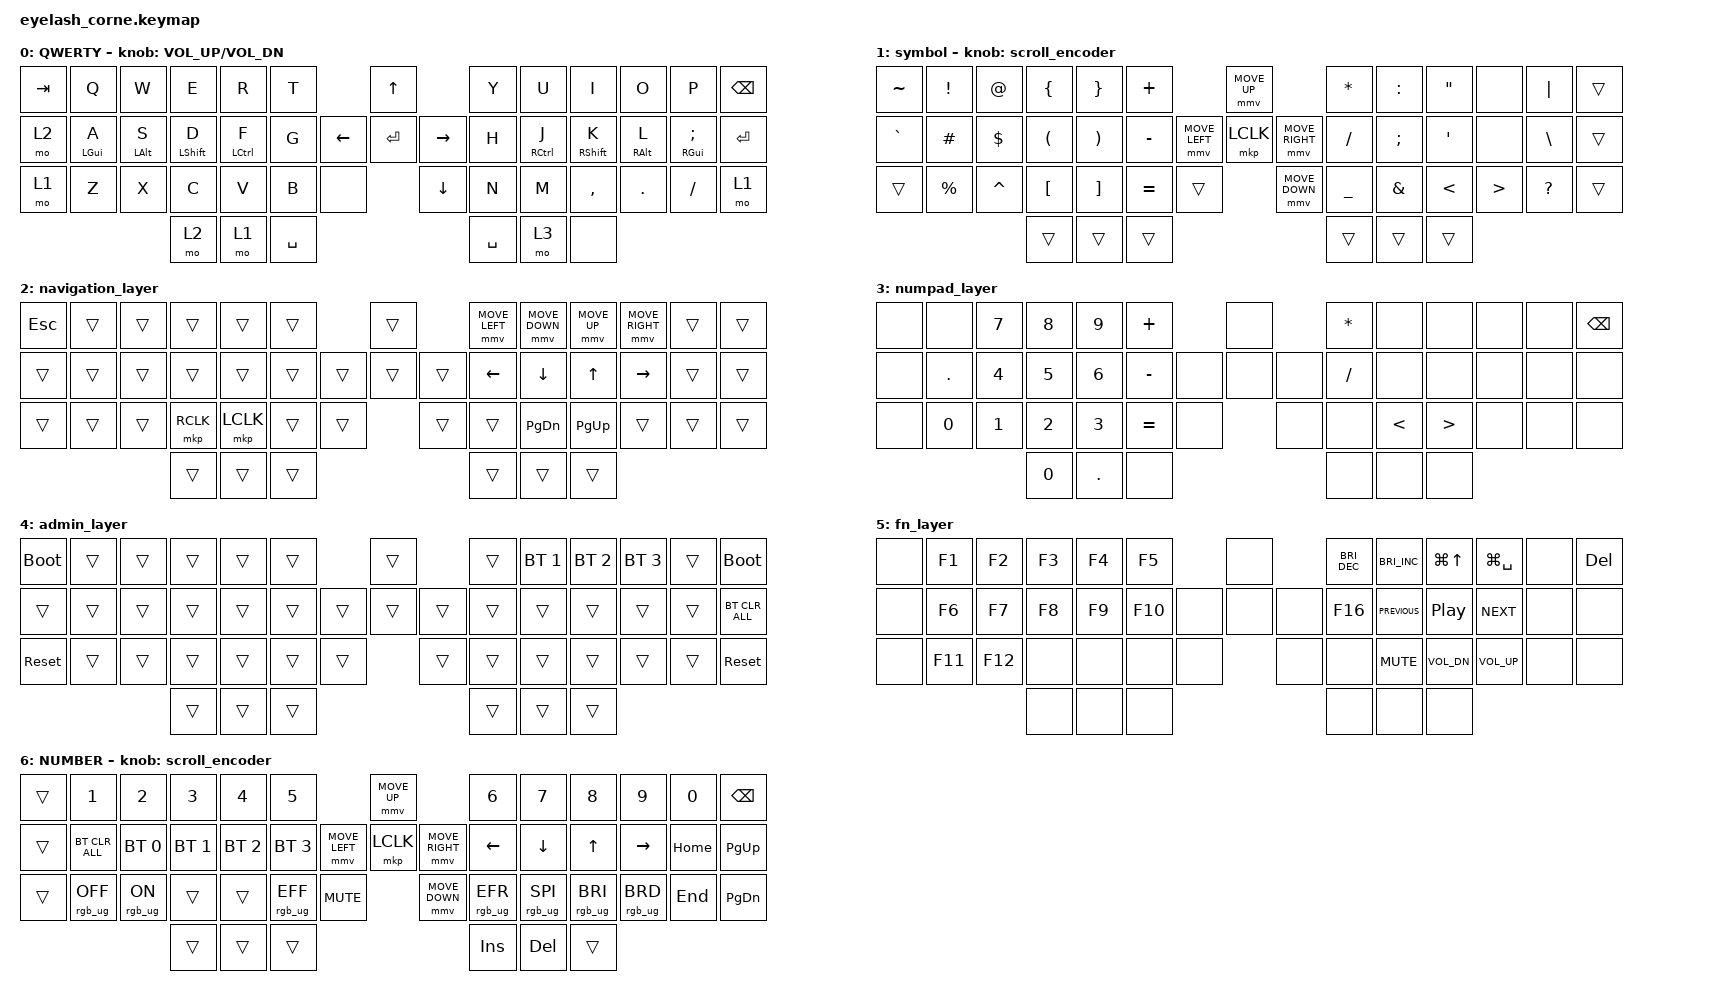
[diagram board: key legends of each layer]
#define ZMK_POINTING_DEFAULT_MOVE_VAL 1200  // 600
#define ZMK_POINTING_DEFAULT_SCRL_VAL 25   // 10

#include <input/processors.dtsi>
#include <zephyr/dt-bindings/input/input-event-codes.h>
#include <behaviors.dtsi>
#include <dt-bindings/zmk/bt.h>
#include <dt-bindings/zmk/keys.h>
#include <dt-bindings/zmk/pointing.h>
#include <dt-bindings/zmk/rgb.h>

&mmv_input_listener { input-processors = <&zip_xy_scaler 2 1>; };

&msc_input_listener { input-processors = <&zip_scroll_scaler 2 1>; };

&msc {
    acceleration-exponent = <1>;      // 0
    time-to-max-speed-ms = <100>;       // 300
    delay-ms = <0>;                   // 0
};

&mmv {
    time-to-max-speed-ms = <500>;
    acceleration-exponent = <1>;
    trigger-period-ms = <16>;
};

&soft_off { hold-time-ms = <2000>; };

/ {
    behaviors {
        hml: hml {
            compatible = "zmk,behavior-hold-tap";
            label = "HML";
            bindings = <&kp>, <&kp>;

            #binding-cells = <2>;
            tapping-term-ms = <280>;
            flavor = "balanced";
            quick-tap-ms = <175>;
            require-prior-idle-ms = <150>;
            hold-trigger-on-release;
            hold-trigger-key-positions = <42 43 44 45 46 47 23 23 24 25 26 7 8 9 10 11 22 23 24 25 26 36 37 38 39 40>;
        };

        hmr: hmr {
            compatible = "zmk,behavior-hold-tap";
            label = "HMR";
            bindings = <&kp>, <&kp>;

            #binding-cells = <2>;
            flavor = "balanced";
            tapping-term-ms = <280>;
            quick-tap-ms = <175>;
            require-prior-idle-ms = <150>;
            hold-trigger-on-release;
            hold-trigger-key-positions = <14 15 16 17 42 43 44 45 46 47 1 2 3 4 14 15 16 17 30 31 32 29 5 18 33>;
        };
    };

    rgb_encoder: rgb_encoder {
        compatible = "zmk,behavior-sensor-rotate";
        #sensor-binding-cells = <0>;
        bindings = <&rgb_ug RGB_BRI>, <&rgb_ug RGB_BRD>;
    };

    scroll_encoder: scroll_encoder {
        compatible = "zmk,behavior-sensor-rotate";
        #sensor-binding-cells = <0>;
        bindings = <&msc SCRL_DOWN>, <&msc SCRL_UP>;

        tap-ms = <100>;
    };

    combos {
        compatible = "zmk,combos";

        left_cut {
            bindings = <&kp LG(X)>;
            key-positions = <14 30>;
            layers = <0>;
        };

        left_copy {
            bindings = <&kp LG(C)>;
            key-positions = <14 31>;
            layers = <0>;
        };

        left_paste {
            bindings = <&kp LG(V)>;
            key-positions = <14 32>;
            layers = <0>;
        };

        admin_left {
            bindings = <&mo 4>;
            key-positions = <42 42 43 44>;
        };

        admin_right {
            bindings = <&mo 4>;
            key-positions = <45 46 47>;
        };

        fn_layer_left {
            bindings = <&mo 5>;
            key-positions = <33 43>;
        };

        fn_layer_right {
            bindings = <&mo 5>;
            key-positions = <36 46>;
        };
    };

    keymap {
        compatible = "zmk,keymap";

        default_layer {
            display-name = "QWERTY";
            bindings = <
&kp TAB  &kp Q            &kp W            &kp E              &kp R         &kp T                         &kp UP                &kp Y      &kp U         &kp I               &kp O             &kp P                &kp BACKSPACE
&mo 2    &hml LEFT_GUI A  &hml LEFT_ALT S  &hml LEFT_SHIFT D  &hml LCTRL F  &kp G               &kp LEFT  &kp ENTER  &kp RIGHT  &kp H      &hmr RCTRL J  &hmr RIGHT_SHIFT K  &hmr RIGHT_ALT L  &hmr RIGHT_GUI SEMI  &kp ENTER
&mo 1    &kp Z            &kp X            &kp C              &kp V         &kp B      &none              &kp DOWN              &kp N      &kp M         &kp COMMA           &kp DOT           &kp FSLH             &mo 1
                                           &mo 2              &mo 1         &kp SPACE                                           &kp SPACE  &mo 3         &none
            >;

            sensor-bindings = <&inc_dec_kp C_VOLUME_UP C_VOL_DN>;
        };

        symbol_layer {
            display-name = "symbol";
            bindings = <
&kp TILDE  &kp EXCL     &kp AT_SIGN  &kp LEFT_BRACE        &kp RIGHT_BRACE        &kp PLUS                             &mmv MOVE_UP                     &kp ASTERISK  &kp COLON      &kp DOUBLE_QUOTES  &none             &kp PIPE       &trans
&kp GRAVE  &kp HASH     &kp DOLLAR   &kp LEFT_PARENTHESIS  &kp RIGHT_PARENTHESIS  &kp MINUS            &mmv MOVE_LEFT  &mkp LCLK       &mmv MOVE_RIGHT  &kp SLASH     &kp SEMICOLON  &kp SQT            &none             &kp BACKSLASH  &trans
&trans     &kp PERCENT  &kp CARET    &kp LEFT_BRACKET      &kp RIGHT_BRACKET      &kp EQUAL  &trans                    &mmv MOVE_DOWN                   &kp UNDER     &kp AMPERSAND  &kp LESS_THAN      &kp GREATER_THAN  &kp QUESTION   &trans
                                     &trans                &trans                 &trans                                                                &trans        &trans         &trans
            >;

            sensor-bindings = <&scroll_encoder>;
        };

        navigation_layer {
            bindings = <
&kp ESCAPE  &trans  &trans  &trans     &trans     &trans                    &trans          &mmv MOVE_LEFT  &mmv MOVE_DOWN  &mmv MOVE_UP  &mmv MOVE_RIGHT  &trans  &trans
&trans      &trans  &trans  &trans     &trans     &trans            &trans  &trans  &trans  &kp LEFT        &kp DOWN        &kp UP        &kp RIGHT        &trans  &trans
&trans      &trans  &trans  &mkp RCLK  &mkp LCLK  &trans  &trans            &trans          &trans          &kp PAGE_DOWN   &kp PAGE_UP   &trans           &trans  &trans
                            &trans     &trans     &trans                                    &trans          &trans          &trans
            >;
        };

        numpad_layer {
            bindings = <
&none  &none         &kp N7  &kp N8  &kp N9   &kp PLUS                   &none         &kp STAR   &none          &none             &none  &none  &kp BACKSPACE
&none  &kp PERIOD    &kp N4  &kp N5  &kp N6   &kp MINUS           &none  &none  &none  &kp SLASH  &none          &none             &none  &none  &none
&none  &kp NUMBER_0  &kp N1  &kp N2  &kp N3   &kp EQUAL  &none           &none         &none      &kp LESS_THAN  &kp GREATER_THAN  &none  &none  &none
                             &kp N0  &kp DOT  &none                                    &none      &none          &none
            >;
        };

        admin_layer {
            bindings = <
&bootloader  &trans  &trans  &trans  &trans  &trans                    &trans          &trans  &bt BT_SEL 1  &bt BT_SEL 2  &bt BT_SEL 3  &trans  &bootloader
&trans       &trans  &trans  &trans  &trans  &trans            &trans  &trans  &trans  &trans  &trans        &trans        &trans        &trans  &bt BT_CLR_ALL
&sys_reset   &trans  &trans  &trans  &trans  &trans  &trans            &trans          &trans  &trans        &trans        &trans        &trans  &sys_reset
                             &trans  &trans  &trans                                    &trans  &trans        &trans
            >;
        };

        fn_layer {
            bindings = <
&none  &kp F1   &kp F2   &kp F3  &kp F4  &kp F5                   &none         &kp C_BRIGHTNESS_DEC  &kp C_BRIGHTNESS_INC  &kp LG(UP_ARROW)  &kp LG(SPACE)  &none  &kp DELETE
&none  &kp F6   &kp F7   &kp F8  &kp F9  &kp F10           &none  &none  &none  &kp F16               &kp C_PREVIOUS        &kp C_PLAY_PAUSE  &kp C_NEXT     &none  &none
&none  &kp F11  &kp F12  &none   &none   &none    &none           &none         &none                 &kp C_MUTE            &kp C_VOL_DN      &kp C_VOL_UP   &none  &none
                         &none   &none   &none                                  &none                 &none                 &none
            >;
        };

        lower_layer_DEPRICATED {
            display-name = "NUMBER";
            bindings = <
&trans  &kp N1           &kp N2          &kp N3        &kp N4        &kp N5                                         &mmv MOVE_UP                     &kp N6           &kp N7           &kp N8           &kp N9           &kp N0    &kp BSPC
&trans  &bt BT_CLR_ALL   &bt BT_SEL 0    &bt BT_SEL 1  &bt BT_SEL 2  &bt BT_SEL 3                   &mmv MOVE_LEFT  &mkp LCLK       &mmv MOVE_RIGHT  &kp LEFT         &kp DOWN         &kp UP           &kp RIGHT        &kp HOME  &kp PG_UP
&trans  &rgb_ug RGB_OFF  &rgb_ug RGB_ON  &trans        &trans        &rgb_ug RGB_EFF  &kp C_MUTE                    &mmv MOVE_DOWN                   &rgb_ug RGB_EFR  &rgb_ug RGB_SPI  &rgb_ug RGB_BRI  &rgb_ug RGB_BRD  &kp END   &kp PG_DN
                                         &trans        &trans        &trans                                                                          &kp INS          &kp DEL          &trans
            >;

            sensor-bindings = <&scroll_encoder>;
        };
    };
};
